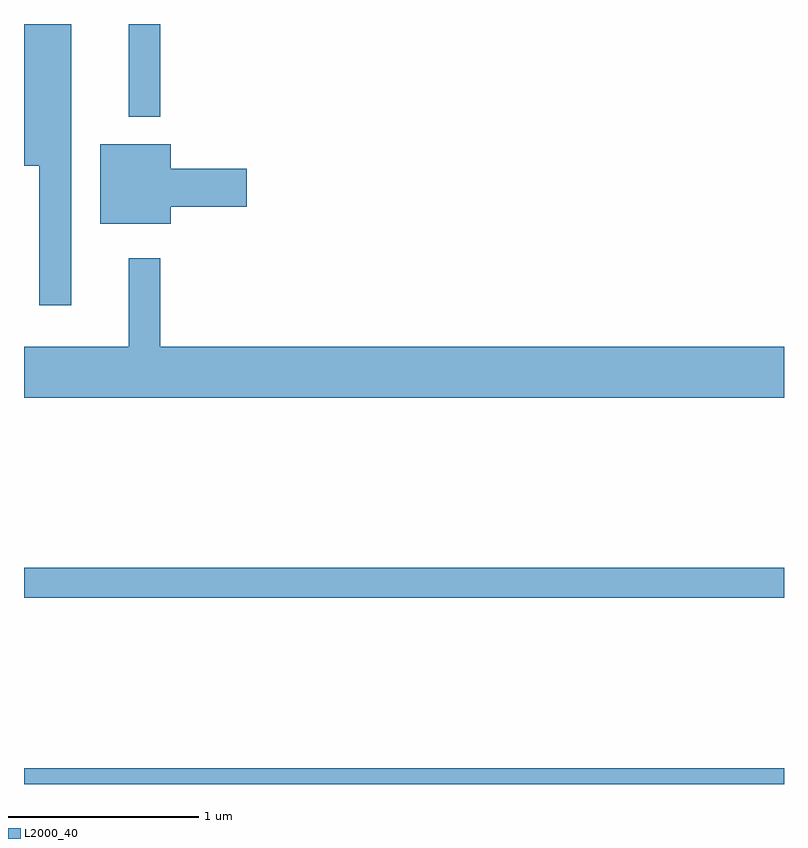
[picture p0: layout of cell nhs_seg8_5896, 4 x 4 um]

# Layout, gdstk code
import gdstk
lib = gdstk.Library(unit=1e-6, precision=1e-09)
def R(c, l, rs):  # rectangles x0, y0, x1, y1
    for r in rs: c.add(gdstk.rectangle(r[:2], r[2:], *l))
def P(c, l, *ps):  # polygons
    for p in ps: c.add(gdstk.Polygon(p, *l))
L2000_40 = (2000, 40)

nhs_seg8_5896 = lib.new_cell('nhs_seg8_5896')
R(nhs_seg8_5896, L2000_40, [(361.611,1874.342,365.611,1874.424), (361.611,1875.321,365.611,1875.479), (362.161,1877.853,362.329,1878.342)])
P(nhs_seg8_5896, L2000_40, [(361.859,1878.342),(361.611,1878.342),(361.611,1877.596),(361.691,1877.596),(361.691,1876.863),(361.859,1876.863)],
  [(362.384,1877.381),(362.784,1877.381),(362.784,1877.579),(362.384,1877.579),(362.384,1877.709),(362.011,1877.709),(362.011,1877.291),(362.384,1877.291)],
  [(365.611,1876.644),(362.329,1876.644),(362.329,1877.108),(362.161,1877.108),(362.161,1876.644),(361.611,1876.644),(361.611,1876.376),(365.611,1876.376)])

lib.write_gds('nhs_seg8_5896.gds')
